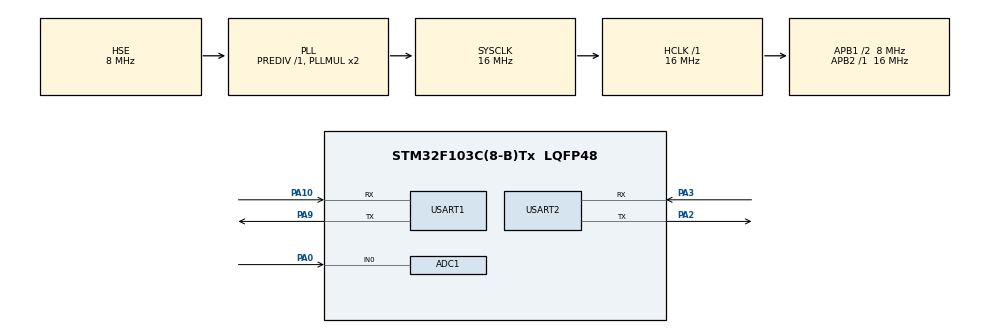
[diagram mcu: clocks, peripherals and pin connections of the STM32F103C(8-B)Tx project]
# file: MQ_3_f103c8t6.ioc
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ADC1.Channel-1\#ChannelRegularConversion=ADC_CHANNEL_0
ADC1.Channel-2\#ChannelInjectedConversion=ADC_CHANNEL_0
ADC1.ContinuousConvMode=ENABLE
ADC1.EnableInjectedConversion=ENABLE
ADC1.InjNumberOfConversion=1
ADC1.InjectedOffset-2\#ChannelInjectedConversion=0
ADC1.NbrOfConversionFlag=1
ADC1.Rank-1\#ChannelRegularConversion=1
ADC1.Rank-2\#ChannelInjectedConversion=1
ADC1.SamplingTime-1\#ChannelRegularConversion=ADC_SAMPLETIME_1CYCLE_5
ADC1.SamplingTime-2\#ChannelInjectedConversion=ADC_SAMPLETIME_1CYCLE_5
ADC1.master=1
Mcu.Family=STM32F1
Mcu.Name=STM32F103C(8-B)Tx
Mcu.Package=LQFP48
NVIC.PriorityGroup=NVIC_PRIORITYGROUP_4
PA0-WKUP.Signal=ADCx_IN0
PA10.Mode=Asynchronous
PA10.Signal=USART1_RX
PA13.Mode=Serial_Wire
PA13.Signal=SYS_JTMS-SWDIO
PA14.Mode=Serial_Wire
PA14.Signal=SYS_JTCK-SWCLK
PA2.Mode=Asynchronous
PA2.Signal=USART2_TX
PA3.Mode=Asynchronous
PA3.Signal=USART2_RX
PA9.Mode=Asynchronous
PA9.Signal=USART1_TX
PD0-OSC_IN.Mode=HSE-External-Oscillator
PD0-OSC_IN.Signal=RCC_OSC_IN
PD1-OSC_OUT.Mode=HSE-External-Oscillator
PD1-OSC_OUT.Signal=RCC_OSC_OUT
ProjectManager.HeapSize=0x200
ProjectManager.StackSize=0x400
ProjectManager.TargetToolchain=MDK-ARM V5.27
RCC.AHBFreq_Value=16000000
RCC.APB1CLKDivider=RCC_HCLK_DIV2
RCC.APB1Freq_Value=8000000
RCC.APB1TimFreq_Value=16000000
RCC.APB2Freq_Value=16000000
RCC.APB2TimFreq_Value=16000000
RCC.HCLKFreq_Value=16000000
RCC.PLLSourceVirtual=RCC_PLLSOURCE_HSE
RCC.SYSCLKFreq_VALUE=16000000
RCC.SYSCLKSource=RCC_SYSCLKSOURCE_PLLCLK
RCC.USBFreq_Value=16000000
SH.ADCx_IN0.0=ADC1_IN0,IN0
USART1.VirtualMode=VM_ASYNC
USART2.VirtualMode=VM_ASYNC
board=custom

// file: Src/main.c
/* USER CODE BEGIN Header */
/**
  ******************************************************************************
  * @file           : main.c
  * @brief          : Main program body
  ******************************************************************************
  * @attention
  *
  * <h2><center>&copy; Copyright (c) 2020 STMicroelectronics.
  * All rights reserved.</center></h2>
  *
  * This software component is licensed by ST under BSD 3-Clause license,
  * the "License"; You may not use this file except in compliance with the
  * License. You may obtain a copy of the License at:
  *                        opensource.org/licenses/BSD-3-Clause
  *
  ******************************************************************************
  */
/* USER CODE END Header */

#include "main.h"

/* USER CODE BEGIN Includes */
#include "stdio.h"
#include "math.h"
/* USER CODE END Includes */

ADC_HandleTypeDef hadc1;

UART_HandleTypeDef huart1;
UART_HandleTypeDef huart2;

/* USER CODE BEGIN PV */
uint16_t ADC_value;
uint16_t ADC_value_buffer[5];
uint16_t ADC_value_filter;
double vol;
double alc_conc;
double value;
uint8_t send_AlcConc[17];
uint8_t send_end[3]={0xFF, 0xFF, 0xFF};
/* USER CODE END PV */

void SystemClock_Config(void);
static void MX_GPIO_Init(void);
static void MX_ADC1_Init(void);
static void MX_USART1_UART_Init(void);
static void MX_USART2_UART_Init(void);
/* USER CODE BEGIN PFP */

/*重定向打印函数*/
int fputc(int ch, FILE *f)
{
	HAL_UART_Transmit(&huart1, (uint8_t*)&ch, 1, 1000);
	HAL_Delay(1);
	return 0;
}

/*初始化MQ-3*/
uint8_t MQ3_init(double *R0)
{
	double val=0;
	for(uint8_t i;i<50;i++)
	{
		HAL_ADC_Start(&hadc1);     								//启动ADC转换
		HAL_ADC_PollForConversion(&hadc1, 50);   	//等待转换完成，50为最大等待时间，单位为ms
		if(HAL_IS_BIT_SET(HAL_ADC_GetState(&hadc1), HAL_ADC_STATE_REG_EOC))
		{
			ADC_value = HAL_ADC_GetValue(&hadc1);   //获取AD值
			if(ADC_value>0)
			{
				vol=ADC_value*3.3f/4096;
				val+=vol;
			}
			else
				return 1;
		}
		HAL_Delay(10);
	}
	*R0=(5/(val/50)-1)*1000/3.6;
	return 0;
}
/* USER CODE END PFP */

int main(void)
{
  /* USER CODE BEGIN 1 */
	uint8_t cnt=0;
	double R0;
  /* USER CODE END 1 */

  /* MCU Configuration--------------------------------------------------------*/

  /* Reset of all peripherals, Initializes the Flash interface and the Systick. */
  HAL_Init();

  /* Configure the system clock */
  SystemClock_Config();

  /* Initialize all configured peripherals */
  MX_GPIO_Init();
  MX_ADC1_Init();
	HAL_ADCEx_Calibration_Start(&hadc1);    //AD校准
  MX_USART1_UART_Init();
  MX_USART2_UART_Init();
  /* USER CODE BEGIN 2 */
	while(MQ3_init(&R0))
		HAL_Delay(10);
	R0=10000;
  /* USER CODE END 2 */

  /* Infinite loop */
  while (1)
  {

    /* USER CODE BEGIN 3 */
		HAL_ADC_Start(&hadc1);     								//启动ADC转换
		HAL_ADC_PollForConversion(&hadc1, 50);   	//等待转换完成，50为最大等待时间，单位为ms

		if(HAL_IS_BIT_SET(HAL_ADC_GetState(&hadc1), HAL_ADC_STATE_REG_EOC))
		{
			ADC_value = HAL_ADC_GetValue(&hadc1);   //获取AD值
			//printf("ADC1 Reading: %d \r\n",ADC_value);
			*(ADC_value_buffer+cnt++)=ADC_value;
			if(cnt==10)
			{
				cnt=0;
				ADC_value_filter=(uint16_t)((ADC_value_buffer[0]+ADC_value_buffer[1]+ADC_value_buffer[2]+ADC_value_buffer[3]+ADC_value_buffer[4])/5);

				//printf("ADC1 Value after Filtering: %d \r\n",ADC_value_filter);
				vol=ADC_value_filter*3.3f/4096;//12位AD转换公式
				//printf("Voltage value: %.4f \r\n",vol);
				value=(log10((5/vol-1)*1000/R0)+0.046)/(-0.347)+2;
				//printf("value: %.4f \r\n", value);
				alc_conc=pow(10.0,value-5)*46.07/22.4;
				printf("alcohol value: %.4f mg/m^3\r\n", alc_conc);
				//send_AlcConc[13]='\0';
				//printf("%s\r\n", send_AlcConc);
				sprintf(send_AlcConc,"t2.txt=\"%02d%c%04d\"",(uint8_t)alc_conc,'.',(uint8_t)((alc_conc-(uint8_t)alc_conc)*10000));
				HAL_UART_Transmit(&huart2, send_AlcConc, 16, 100);
				HAL_Delay(1);
				HAL_UART_Transmit(&huart2, send_end, 3, 100);
			}
		}
		HAL_Delay(90);
  }
  /* USER CODE END 3 */
}

void SystemClock_Config(void)
{
  RCC_OscInitTypeDef RCC_OscInitStruct = {0};
  RCC_ClkInitTypeDef RCC_ClkInitStruct = {0};
  RCC_PeriphCLKInitTypeDef PeriphClkInit = {0};

  /** Initializes the CPU, AHB and APB busses clocks
  */
  RCC_OscInitStruct.OscillatorType = RCC_OSCILLATORTYPE_HSE;
  RCC_OscInitStruct.HSEState = RCC_HSE_ON;
  RCC_OscInitStruct.HSEPredivValue = RCC_HSE_PREDIV_DIV1;
  RCC_OscInitStruct.HSIState = RCC_HSI_ON;
  RCC_OscInitStruct.PLL.PLLState = RCC_PLL_ON;
  RCC_OscInitStruct.PLL.PLLSource = RCC_PLLSOURCE_HSE;
  RCC_OscInitStruct.PLL.PLLMUL = RCC_PLL_MUL2;
  if (HAL_RCC_OscConfig(&RCC_OscInitStruct) != HAL_OK)
  {
    Error_Handler();
  }
  /** Initializes the CPU, AHB and APB busses clocks
  */
  RCC_ClkInitStruct.ClockType = RCC_CLOCKTYPE_HCLK|RCC_CLOCKTYPE_SYSCLK
                              |RCC_CLOCKTYPE_PCLK1|RCC_CLOCKTYPE_PCLK2;
  RCC_ClkInitStruct.SYSCLKSource = RCC_SYSCLKSOURCE_PLLCLK;
  RCC_ClkInitStruct.AHBCLKDivider = RCC_SYSCLK_DIV1;
  RCC_ClkInitStruct.APB1CLKDivider = RCC_HCLK_DIV2;
  RCC_ClkInitStruct.APB2CLKDivider = RCC_HCLK_DIV1;

  if (HAL_RCC_ClockConfig(&RCC_ClkInitStruct, FLASH_LATENCY_0) != HAL_OK)
  {
    Error_Handler();
  }
  PeriphClkInit.PeriphClockSelection = RCC_PERIPHCLK_ADC;
  PeriphClkInit.AdcClockSelection = RCC_ADCPCLK2_DIV2;
  if (HAL_RCCEx_PeriphCLKConfig(&PeriphClkInit) != HAL_OK)
  {
    Error_Handler();
  }
}

static void MX_ADC1_Init(void)
{

  ADC_ChannelConfTypeDef sConfig = {0};
  ADC_InjectionConfTypeDef sConfigInjected = {0};

  /** Common config
  */
  hadc1.Instance = ADC1;
  hadc1.Init.ScanConvMode = ADC_SCAN_DISABLE;
  hadc1.Init.ContinuousConvMode = ENABLE;
  hadc1.Init.DiscontinuousConvMode = DISABLE;
  hadc1.Init.ExternalTrigConv = ADC_SOFTWARE_START;
  hadc1.Init.DataAlign = ADC_DATAALIGN_RIGHT;
  hadc1.Init.NbrOfConversion = 1;
  if (HAL_ADC_Init(&hadc1) != HAL_OK)
  {
    Error_Handler();
  }
  /** Configure Regular Channel
  */
  sConfig.Channel = ADC_CHANNEL_0;
  sConfig.Rank = ADC_REGULAR_RANK_1;
  sConfig.SamplingTime = ADC_SAMPLETIME_1CYCLE_5;
  if (HAL_ADC_ConfigChannel(&hadc1, &sConfig) != HAL_OK)
  {
    Error_Handler();
  }
  /** Configure Injected Channel
  */
  sConfigInjected.InjectedChannel = ADC_CHANNEL_0;
  sConfigInjected.InjectedRank = ADC_INJECTED_RANK_1;
  sConfigInjected.InjectedNbrOfConversion = 1;
  sConfigInjected.InjectedSamplingTime = ADC_SAMPLETIME_1CYCLE_5;
  sConfigInjected.ExternalTrigInjecConv = ADC_INJECTED_SOFTWARE_START;
  sConfigInjected.AutoInjectedConv = DISABLE;
  sConfigInjected.InjectedDiscontinuousConvMode = DISABLE;
  sConfigInjected.InjectedOffset = 0;
  if (HAL_ADCEx_InjectedConfigChannel(&hadc1, &sConfigInjected) != HAL_OK)
  {
    Error_Handler();
  }

}

static void MX_USART1_UART_Init(void)
{

  huart1.Instance = USART1;
  huart1.Init.BaudRate = 115200;
  huart1.Init.WordLength = UART_WORDLENGTH_8B;
  huart1.Init.StopBits = UART_STOPBITS_1;
  huart1.Init.Parity = UART_PARITY_NONE;
  huart1.Init.Mode = UART_MODE_TX_RX;
  huart1.Init.HwFlowCtl = UART_HWCONTROL_NONE;
  huart1.Init.OverSampling = UART_OVERSAMPLING_16;
  if (HAL_UART_Init(&huart1) != HAL_OK)
  {
    Error_Handler();
  }

}

static void MX_USART2_UART_Init(void)
{

  huart2.Instance = USART2;
  huart2.Init.BaudRate = 115200;
  huart2.Init.WordLength = UART_WORDLENGTH_8B;
  huart2.Init.StopBits = UART_STOPBITS_1;
  huart2.Init.Parity = UART_PARITY_NONE;
  huart2.Init.Mode = UART_MODE_TX_RX;
  huart2.Init.HwFlowCtl = UART_HWCONTROL_NONE;
  huart2.Init.OverSampling = UART_OVERSAMPLING_16;
  if (HAL_UART_Init(&huart2) != HAL_OK)
  {
    Error_Handler();
  }

}

static void MX_GPIO_Init(void)
{

  /* GPIO Ports Clock Enable */
  __HAL_RCC_GPIOD_CLK_ENABLE();
  __HAL_RCC_GPIOA_CLK_ENABLE();

}

void Error_Handler(void)
{
}

/************************ (C) COPYRIGHT STMicroelectronics *****END OF FILE****/
